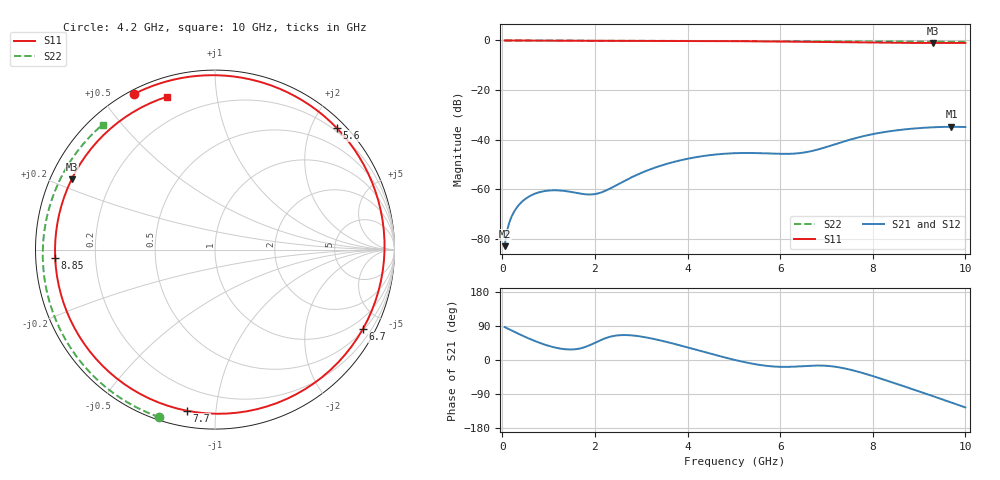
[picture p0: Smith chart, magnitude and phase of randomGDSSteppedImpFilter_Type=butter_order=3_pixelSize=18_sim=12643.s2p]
! freq	dB(S11)	phase(S11)	dB(S12)	phase(S12)
!  dB(S21)	phase(S21)	dB(S22)	phase(S22)
!S-par simulation data
#  GHz  S  DB  R 50
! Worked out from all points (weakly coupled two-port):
!   200 points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, 50 MHz to 10 GHz, reference 50 ohm
!   highest |S21| = -34.80 dB at 9.7 GHz (marker M1); lowest = -82.9 dB at 50 MHz (marker M2)
!   lowest |S11| = -1.0 dB at 9.3 GHz (marker M3), VSWR 17.15, Z = 3.07 + j11.5 ohm
!   |S11| at or under -10 dB: nowhere
!   |S22| runs from -0.6 to 0.0 dB; largest |S21 - S12| = 0
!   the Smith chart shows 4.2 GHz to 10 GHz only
!   S11 on the Smith chart (normalised r, x): 4.2 GHz: 0.02, +0.61; 5.6 GHz: 0.14, +2.41; 6.7 GHz: 0.55, -3.90; 7.7 GHz: 0.08, -0.84; 8.85 GHz: 0.06, -0.03; 10 GHz: 0.09, +0.73
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0.05  -0.01 -4.7  -82.91 87.0  -82.91 87.0  -0.00 -1.4
0.25  -0.03 -23.4  -69.16 74.9  -69.16 74.9  -0.01 -7.2
0.6  -0.07 -54.3  -62.66 55.3  -62.66 55.3  -0.02 -17.1
0.85  -0.09 -74.4  -60.94 43.4  -60.94 43.4  -0.03 -24.1
1.1  -0.10 -92.7  -60.39 34.0  -60.39 34.0  -0.04 -31.0
1.75  -0.12 -132.6  -61.90 32.8  -61.90 32.8  -0.06 -48.7
2.1  -0.13 -150.7  -61.48 51.2  -61.48 51.2  -0.07 -57.9
2.55  -0.14 -171.6  -57.47 65.6  -57.47 65.6  -0.09 -69.4
3.4  -0.16 152.0  -50.61 52.0  -50.61 52.0  -0.11 -90.1
4.2  -0.20 117.4  -46.99 26.6  -46.99 26.6  -0.14 -108.4
4.65  -0.24 96.4  -45.89 11.7  -45.89 11.7  -0.16 -118.2
5.05  -0.28 76.1  -45.41 -0.7  -45.41 -0.7  -0.18 -126.7
5.6  -0.36 45.0  -45.45 -13.8  -45.45 -13.8  -0.21 -138.0
6.2  -0.48 6.6  -45.68 -18.1  -45.68 -18.1  -0.25 -150.2
6.7  -0.58 -28.3  -44.49 -14.8  -44.49 -14.8  -0.28 -160.1
7.2  -0.70 -64.3  -41.75 -18.0  -41.75 -18.0  -0.32 -170.1
7.7  -0.81 -99.9  -39.02 -31.5  -39.02 -31.5  -0.36 180.0
8.35  -0.93 -144.2  -36.63 -56.2  -36.63 -56.2  -0.42 166.9
8.85  -1.00 -176.9  -35.55 -76.7  -35.55 -76.7  -0.46 156.6
9.3  -1.01 153.9  -34.99 -95.4  -34.99 -95.4  -0.51 147.1
9.7  -1.00 127.6  -34.80 -112.4  -34.80 -112.4  -0.54 138.5
10  -0.99 107.4  -34.89 -125.2  -34.89 -125.2  -0.57 131.9
